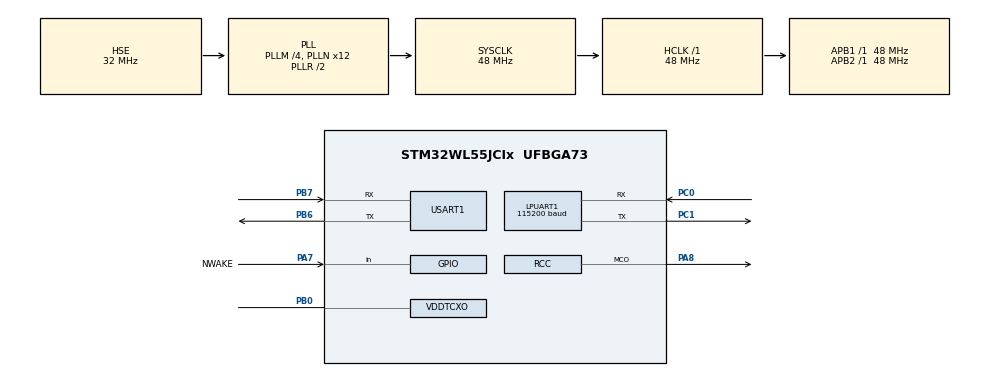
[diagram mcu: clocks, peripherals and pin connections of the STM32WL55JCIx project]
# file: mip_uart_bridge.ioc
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LPUART1.BaudRate=115200
LPUART1.SwapParam=UART_ADVFEATURE_SWAP_ENABLE
Mcu.Family=STM32WL
Mcu.Name=STM32WL55JCIx
Mcu.Package=UFBGA73
NVIC.LPUART1_IRQn=true\:0\:0\:false\:false\:true\:true\:true\:true
NVIC.PriorityGroup=NVIC_PRIORITYGROUP_4
NVIC.USART1_IRQn=true\:0\:0\:false\:false\:true\:true\:true\:true
OSC_IN.Mode=HSE-TCXO
OSC_IN.Signal=RCC_OSC_IN
PA2.Mode=Clock-out-LSCO
PA2.Signal=RCC_LSCO
PA7.GPIO_Label=NWAKE
PA7.Signal=GPIO_Input
PA8.Mode=Clock-out
PA8.Signal=RCC_MCO
PB0-VDD_TCXO.Mode=HSE-TCXO
PB0-VDD_TCXO.Signal=VDDTCXO
PB6.Mode=Asynchronous
PB6.Signal=USART1_TX
PB7.Mode=Asynchronous
PB7.Signal=USART1_RX
PC0.Mode=Asynchronous
PC0.Signal=LPUART1_RX
PC1.Mode=Asynchronous
PC1.Signal=LPUART1_TX
PC14-OSC32_IN.Mode=LSE-External-Oscillator
PC14-OSC32_IN.Signal=RCC_OSC32_IN
PC15-OSC32_OUT.Mode=LSE-External-Oscillator
PC15-OSC32_OUT.Signal=RCC_OSC32_OUT
ProjectManager.HeapSize=0x200
ProjectManager.StackSize=0x400
ProjectManager.TargetToolchain=STM32CubeIDE
RCC.AHBFreq_Value=48000000
RCC.APB1Freq_Value=48000000
RCC.APB1TimFreq_Value=48000000
RCC.APB2Freq_Value=48000000
RCC.APB2TimFreq_Value=48000000
RCC.APB3Freq_Value=48000000
RCC.CortexFreq_Value=48000000
RCC.HCLKFreq_Value=48000000
RCC.HSE_VALUE=32000000
RCC.HSI_VALUE=16000000
RCC.LSCOSource1=RCC_LSCOSOURCE_LSE
RCC.LSE_VALUE=32768
RCC.MSIClockRange=RCC_MSIRANGE_11
RCC.PLLM=RCC_PLLM_DIV4
RCC.PLLN=12
RCC.PLLSourceVirtual=RCC_PLLSOURCE_HSE
RCC.RCC_MCO1Source=RCC_MCO1SOURCE_MSI
RCC.SYSCLKFreq_VALUE=48000000
RCC.SYSCLKSource=RCC_SYSCLKSOURCE_PLLCLK
RCC.VCOOutputFreq_Value=96000000
USART1.VirtualMode-Asynchronous=VM_ASYNC
board=custom

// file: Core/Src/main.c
/* USER CODE BEGIN Header */
/**
  ******************************************************************************
  * @file           : main.c
  * @brief          : Main program body
  ******************************************************************************
  * @attention
  *
  * Copyright (c) 2024 STMicroelectronics.
  * All rights reserved.
  *
  * This software is licensed under terms that can be found in the LICENSE file
  * in the root directory of this software component.
  * If no LICENSE file comes with this software, it is provided AS-IS.
  *
  ******************************************************************************
  */
/* USER CODE END Header */
#include "main.h"
#include "usart.h"
#include "gpio.h"

/* USER CODE BEGIN Includes */
#include "ipcc.h"
#include "MainApp.h"
#include "sys_app.h"
#include "serial.h"
#include "stm32_timer.h"
/* USER CODE END Includes */

void SystemClock_Config(void);

/* USER CODE BEGIN 0 */

extern uint32_t g_pfnVectors[];

void dvc_appjmp_init_vectors()
{
	__disable_irq();
	SCB->VTOR = 0x8004000;
}
/* USER CODE END 0 */

int main(void)
{

  /* MCU Configuration--------------------------------------------------------*/

  /* Reset of all peripherals, Initializes the Flash interface and the Systick. */
  HAL_Init();

  /* Configure the system clock */
  SystemClock_Config();

  /* USER CODE BEGIN SysInit */
  /* IPCC initialization */
  MX_IPCC_Init();
  SystemApp_Init();
  /* USER CODE END SysInit */

  /* Initialize all configured peripherals */
  MX_GPIO_Init();
  MX_USART1_UART_Init();
  MX_LPUART1_UART_Init();
  /* USER CODE BEGIN 2 */

  /* Set default state from potential system reset: Clear Stop2 flag of CPU1 */
  __HAL_PWR_CLEAR_FLAG (PWR_FLAG_STOP2);

  initMainApp();
  /* Boot CPU2 */
  HAL_PWREx_ReleaseCore (PWR_CORE_CPU2);

  /* Wait until cpu2 is ready to receive commands */
  while (*cpu2InitDone != CPU2_INITIALISED);
  /* USER CODE END 2 */

  /* Infinite loop */
  /* USER CODE BEGIN WHILE */
  while (1)
  {
	applicationProcess ();
    /* USER CODE END WHILE */

  }
}

void SystemClock_Config(void)
{
  RCC_OscInitTypeDef RCC_OscInitStruct = {0};
  RCC_ClkInitTypeDef RCC_ClkInitStruct = {0};

  /** Configure LSE Drive Capability
  */
  HAL_PWR_EnableBkUpAccess();
  __HAL_RCC_LSEDRIVE_CONFIG(RCC_LSEDRIVE_LOW);

  /** Configure the main internal regulator output voltage
  */
  __HAL_PWR_VOLTAGESCALING_CONFIG(PWR_REGULATOR_VOLTAGE_SCALE1);

  /** Initializes the CPU, AHB and APB buses clocks
  */
  RCC_OscInitStruct.OscillatorType = RCC_OSCILLATORTYPE_HSE|RCC_OSCILLATORTYPE_LSE
                              |RCC_OSCILLATORTYPE_MSI;
  RCC_OscInitStruct.HSEState = RCC_HSE_BYPASS_PWR;
  RCC_OscInitStruct.LSEState = RCC_LSE_ON;
  RCC_OscInitStruct.MSIState = RCC_MSI_ON;
  RCC_OscInitStruct.MSICalibrationValue = RCC_MSICALIBRATION_DEFAULT;
  RCC_OscInitStruct.MSIClockRange = RCC_MSIRANGE_11;
  RCC_OscInitStruct.HSEDiv = RCC_HSE_DIV1;
  RCC_OscInitStruct.PLL.PLLState = RCC_PLL_ON;
  RCC_OscInitStruct.PLL.PLLSource = RCC_PLLSOURCE_HSE;
  RCC_OscInitStruct.PLL.PLLM = RCC_PLLM_DIV4;
  RCC_OscInitStruct.PLL.PLLN = 12;
  RCC_OscInitStruct.PLL.PLLP = RCC_PLLP_DIV2;
  RCC_OscInitStruct.PLL.PLLR = RCC_PLLR_DIV2;
  RCC_OscInitStruct.PLL.PLLQ = RCC_PLLQ_DIV2;
  if (HAL_RCC_OscConfig(&RCC_OscInitStruct) != HAL_OK)
  {
    Error_Handler();
  }

  /** Configure the SYSCLKSource, HCLK, PCLK1 and PCLK2 clocks dividers
  */
  RCC_ClkInitStruct.ClockType = RCC_CLOCKTYPE_HCLK3|RCC_CLOCKTYPE_HCLK
                              |RCC_CLOCKTYPE_SYSCLK|RCC_CLOCKTYPE_PCLK1
                              |RCC_CLOCKTYPE_PCLK2;
  RCC_ClkInitStruct.SYSCLKSource = RCC_SYSCLKSOURCE_PLLCLK;
  RCC_ClkInitStruct.AHBCLKDivider = RCC_SYSCLK_DIV1;
  RCC_ClkInitStruct.APB1CLKDivider = RCC_HCLK_DIV1;
  RCC_ClkInitStruct.APB2CLKDivider = RCC_HCLK_DIV1;
  RCC_ClkInitStruct.AHBCLK3Divider = RCC_SYSCLK_DIV1;

  if (HAL_RCC_ClockConfig(&RCC_ClkInitStruct, FLASH_LATENCY_2) != HAL_OK)
  {
    Error_Handler();
  }
  HAL_RCC_MCOConfig(RCC_MCO1, RCC_MCO1SOURCE_MSI, RCC_MCODIV_1);
  HAL_RCCEx_EnableLSCO(RCC_LSCOSOURCE_LSE);
}

void Error_Handler(void)
{
  __disable_irq();
  while (1)
  {
  }
}
